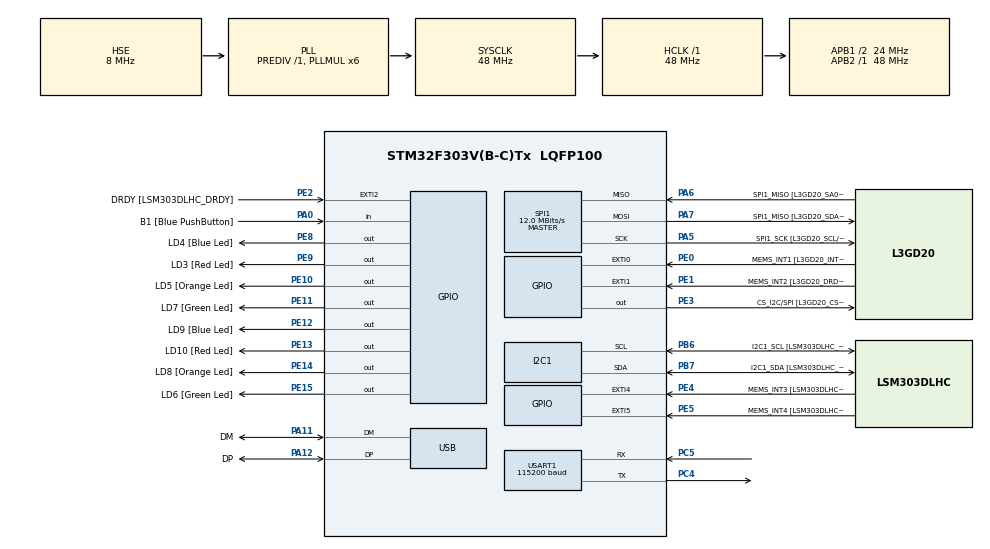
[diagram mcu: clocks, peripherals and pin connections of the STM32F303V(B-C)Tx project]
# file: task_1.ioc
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I2C1.Timing=0x00201D2B
I2C1.Timing-I2C=0x2000090E
Mcu.Family=STM32F3
Mcu.Name=STM32F303V(B-C)Tx
Mcu.Package=LQFP100
NVIC.PriorityGroup=NVIC_PRIORITYGROUP_0
PA0.GPIO_Label=B1 [Blue PushButton]
PA0.Signal=GPIO_Input
PA11.GPIO_Label=DM
PA11.Mode=Device
PA11.Signal=USB_DM
PA12.GPIO_Label=DP
PA12.Mode=Device
PA12.Signal=USB_DP
PA13.GPIO_Label=SWDIO
PA13.Mode=Serial_Wire
PA13.Signal=SYS_JTMS-SWDIO
PA14.GPIO_Label=SWCLK
PA14.Mode=Serial_Wire
PA14.Signal=SYS_JTCK-SWCLK
PA5.GPIO_Label=SPI1_SCK [L3GD20_SCL/SPC]
PA5.Mode=Full_Duplex_Master
PA5.Signal=SPI1_SCK
PA6.GPIO_Label=SPI1_MISO [L3GD20_SA0/SDO]
PA6.Mode=Full_Duplex_Master
PA6.Signal=SPI1_MISO
PA7.GPIO_Label=SPI1_MISO [L3GD20_SDA/SDI/SDO]
PA7.Mode=Full_Duplex_Master
PA7.Signal=SPI1_MOSI
PB3.GPIO_Label=SWO
PB3.Signal=SYS_JTDO-TRACESWO
PB6.GPIO_Label=I2C1_SCL [LSM303DLHC_SCL]
PB6.GPIO_Pu=GPIO_PULLUP
PB6.Mode=I2C
PB6.Signal=I2C1_SCL
PB7.GPIO_Label=I2C1_SDA [LSM303DLHC_SDA]
PB7.GPIO_Pu=GPIO_PULLUP
PB7.Mode=I2C
PB7.Signal=I2C1_SDA
PC14-OSC32_IN.GPIO_Label=OSC32_IN
PC14-OSC32_IN.Signal=RCC_OSC32_IN
PC15-OSC32_OUT.GPIO_Label=OSC32_OUT
PC15-OSC32_OUT.Signal=RCC_OSC32_OUT
PC4.Mode=Asynchronous
PC4.Signal=USART1_TX
PC5.Mode=Asynchronous
PC5.Signal=USART1_RX
PE0.GPIO_Label=MEMS_INT1 [L3GD20_INT1]
PE0.GPIO_ModeDefaultEXTI=GPIO_MODE_EVT_RISING
PE0.Signal=GPXTI0
PE1.GPIO_Label=MEMS_INT2 [L3GD20_DRDY/INT2]
PE1.GPIO_ModeDefaultEXTI=GPIO_MODE_EVT_RISING
PE1.Signal=GPXTI1
PE10.GPIO_Label=LD5 [Orange Led]
PE10.Signal=GPIO_Output
PE11.GPIO_Label=LD7 [Green Led]
PE11.Signal=GPIO_Output
PE12.GPIO_Label=LD9 [Blue Led]
PE12.Signal=GPIO_Output
PE13.GPIO_Label=LD10 [Red Led]
PE13.Signal=GPIO_Output
PE14.GPIO_Label=LD8 [Orange Led]
PE14.Signal=GPIO_Output
PE15.GPIO_Label=LD6 [Green Led]
PE15.Signal=GPIO_Output
PE2.GPIO_Label=DRDY [LSM303DLHC_DRDY]
PE2.GPIO_ModeDefaultEXTI=GPIO_MODE_EVT_RISING
PE2.Signal=GPXTI2
PE3.GPIO_Label=CS_I2C/SPI [L3GD20_CS_I2C/SPI]
PE3.Signal=GPIO_Output
PE4.GPIO_Label=MEMS_INT3 [LSM303DLHC_INT1]
PE4.GPIO_ModeDefaultEXTI=GPIO_MODE_EVT_RISING
PE4.Signal=GPXTI4
PE5.GPIO_Label=MEMS_INT4 [LSM303DLHC_INT2]
PE5.GPIO_ModeDefaultEXTI=GPIO_MODE_EVT_RISING
PE5.Signal=GPXTI5
PE8.GPIO_Label=LD4 [Blue Led]
PE8.Signal=GPIO_Output
PE9.GPIO_Label=LD3 [Red Led]
PE9.Signal=GPIO_Output
PF0-OSC_IN.GPIO_Label=OSC_IN
PF0-OSC_IN.Mode=HSE-External-Clock-Source
PF0-OSC_IN.Signal=RCC_OSC_IN
PF1-OSC_OUT.GPIO_Label=OSC_OUT
PF1-OSC_OUT.Signal=RCC_OSC_OUT
ProjectManager.HeapSize=0x200
ProjectManager.StackSize=0x800
ProjectManager.TargetToolchain=CMake
RCC.AHBFreq_Value=48000000
RCC.APB1CLKDivider=RCC_HCLK_DIV2
RCC.APB1Freq_Value=24000000
RCC.APB1TimFreq_Value=48000000
RCC.APB2Freq_Value=48000000
RCC.APB2TimFreq_Value=48000000
RCC.CortexFreq_Value=48000000
RCC.HCLKFreq_Value=48000000
RCC.HSE_VALUE=8000000
RCC.HSI_VALUE=8000000
RCC.LSE_VALUE=32768
RCC.PLLMUL=RCC_PLL_MUL6
RCC.SYSCLKFreq_VALUE=48000000
RCC.SYSCLKSourceVirtual=RCC_SYSCLKSOURCE_PLLCLK
RCC.USBFreq_Value=48000000
SPI1.BaudRatePrescaler=SPI_BAUDRATEPRESCALER_4
SPI1.BaudRatePrescaler-Full_Duplex_Master=SPI_BAUDRATEPRESCALER_2
SPI1.CalculateBaudRate=12.0 MBits/s
SPI1.CalculateBaudRate-Full_Duplex_Master=24.0 MBits/s
SPI1.Direction=SPI_DIRECTION_2LINES
SPI1.Mode=SPI_MODE_MASTER
SPI1.Mode-Full_Duplex_Master=SPI_MODE_MASTER
SPI1.VirtualType=VM_MASTER
USART1.BaudRate=115200
USART1.VirtualMode-Asynchronous=VM_ASYNC
board=STM32F3DISCOVERY

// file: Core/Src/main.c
/* USER CODE BEGIN Header */
/**
  ******************************************************************************
  * @file           : main.c
  * @brief          : Main program body
  ******************************************************************************
  * @attention
  *
  * Copyright (c) 2025 STMicroelectronics.
  * All rights reserved.
  *
  * This software is licensed under terms that can be found in the LICENSE file
  * in the root directory of this software component.
  * If no LICENSE file comes with this software, it is provided AS-IS.
  *
  ******************************************************************************
  */
/* USER CODE END Header */
#include "main.h"

/* USER CODE BEGIN Includes */
#include <stdlib.h>
#include <stdio.h>
#include <string.h>
#include <stdarg.h>
/* USER CODE END Includes */

I2C_HandleTypeDef hi2c1;

SPI_HandleTypeDef hspi1;

UART_HandleTypeDef huart1;

PCD_HandleTypeDef hpcd_USB_FS;

/* USER CODE BEGIN PV */
/* you can add persistent variables here if needed */
/* USER CODE END PV */

void SystemClock_Config(void);
static void MX_GPIO_Init(void);
static void MX_I2C1_Init(void);
static void MX_SPI1_Init(void);
static void MX_USART1_UART_Init(void);
static void MX_USB_PCD_Init(void);

/* USER CODE BEGIN 0 */

/* UART helpers using huart1 */
static void uart_print(const char *s)
{
  if (s == NULL) return;
  HAL_UART_Transmit(&huart1, (uint8_t *)s, (uint16_t)strlen(s), HAL_MAX_DELAY);
}

static void uart_printf(const char *fmt, ...)
{
  char buf[128];
  va_list args;
  va_start(args, fmt);
  vsnprintf(buf, sizeof(buf), fmt, args);
  va_end(args);
  uart_print(buf);
}

/* USER CODE END 0 */

int main(void)
{

  /* MCU Configuration--------------------------------------------------------*/

  /* Reset of all peripherals, Initializes the Flash interface and the Systick. */
  HAL_Init();

  /* Configure the system clock */
  SystemClock_Config();

  /* Initialize all configured peripherals */
  MX_GPIO_Init();
  MX_I2C1_Init();
  MX_SPI1_Init();
  MX_USART1_UART_Init();
  MX_USB_PCD_Init();
  /* USER CODE BEGIN 2 */

  const size_t n = 10; /* number of ints to allocate */

  /* malloc example */
  int *arr_malloc = (int *) malloc(n * sizeof(int));
  if (arr_malloc == NULL) {
    uart_print("malloc failed: insufficient heap or heap not configured\r\n");
  } else {
    /* initialize arr_malloc: each element = i * 2 */
    for (size_t i = 0; i < n; ++i) {
      arr_malloc[i] = (int)(i * 2);
    }

    /* print contents */
    uart_print("arr_malloc contents: ");
    for (size_t i = 0; i < n; ++i) {
      uart_printf("%d ", arr_malloc[i]);
    }
    uart_print("\r\n");
  }

  /* calloc example */
  int *arr_calloc = (int *) calloc(n, sizeof(int));
  if (arr_calloc == NULL) {
    uart_print("calloc failed: insufficient heap or heap not configured\r\n");
  } else {
    /* confirm initially zero */
    uart_print("arr_calloc initial contents (should be zeros): ");
    for (size_t i = 0; i < n; ++i) {
      uart_printf("%d ", arr_calloc[i]);
    }
    uart_print("\r\n");

    /* assign arr_calloc[i] = i + 1 */
    for (size_t i = 0; i < n; ++i) {
      arr_calloc[i] = (int)(i + 1);
    }

    /* print updated contents */
    uart_print("arr_calloc after init: ");
    for (size_t i = 0; i < n; ++i) {
      uart_printf("%d ", arr_calloc[i]);
    }
    uart_print("\r\n");
  }

  /* free and set to NULL */
  if (arr_malloc) {
    free(arr_malloc);
    arr_malloc = NULL;
    uart_print("arr_malloc freed and pointer set to NULL\r\n");
  }
  if (arr_calloc) {
    free(arr_calloc);
    arr_calloc = NULL;
    uart_print("arr_calloc freed and pointer set to NULL\r\n");
  }

  uart_print("Memory freed. Pointers cleared.\r\n");
  /* --- end Task 1 implementation --- */

  /* USER CODE END 2 */

  /* Infinite loop */
  while (1)
  {

    /* USER CODE BEGIN 3 */
    HAL_Delay(1000);
  }
  /* USER CODE END 3 */
}

void SystemClock_Config(void)
{
  RCC_OscInitTypeDef RCC_OscInitStruct = {0};
  RCC_ClkInitTypeDef RCC_ClkInitStruct = {0};
  RCC_PeriphCLKInitTypeDef PeriphClkInit = {0};

  /** Initializes the RCC Oscillators according to the specified parameters
  * in the RCC_OscInitTypeDef structure.
  */
  RCC_OscInitStruct.OscillatorType = RCC_OSCILLATORTYPE_HSI|RCC_OSCILLATORTYPE_HSE;
  RCC_OscInitStruct.HSEState = RCC_HSE_BYPASS;
  RCC_OscInitStruct.HSEPredivValue = RCC_HSE_PREDIV_DIV1;
  RCC_OscInitStruct.HSIState = RCC_HSI_ON;
  RCC_OscInitStruct.HSICalibrationValue = RCC_HSICALIBRATION_DEFAULT;
  RCC_OscInitStruct.PLL.PLLState = RCC_PLL_ON;
  RCC_OscInitStruct.PLL.PLLSource = RCC_PLLSOURCE_HSE;
  RCC_OscInitStruct.PLL.PLLMUL = RCC_PLL_MUL6;
  if (HAL_RCC_OscConfig(&RCC_OscInitStruct) != HAL_OK)
  {
    Error_Handler();
  }

  /** Initializes the CPU, AHB and APB buses clocks
  */
  RCC_ClkInitStruct.ClockType = RCC_CLOCKTYPE_HCLK|RCC_CLOCKTYPE_SYSCLK
                              |RCC_CLOCKTYPE_PCLK1|RCC_CLOCKTYPE_PCLK2;
  RCC_ClkInitStruct.SYSCLKSource = RCC_SYSCLKSOURCE_PLLCLK;
  RCC_ClkInitStruct.AHBCLKDivider = RCC_SYSCLK_DIV1;
  RCC_ClkInitStruct.APB1CLKDivider = RCC_HCLK_DIV2;
  RCC_ClkInitStruct.APB2CLKDivider = RCC_HCLK_DIV1;

  if (HAL_RCC_ClockConfig(&RCC_ClkInitStruct, FLASH_LATENCY_1) != HAL_OK)
  {
    Error_Handler();
  }
  PeriphClkInit.PeriphClockSelection = RCC_PERIPHCLK_USB|RCC_PERIPHCLK_USART1
                              |RCC_PERIPHCLK_I2C1;
  PeriphClkInit.Usart1ClockSelection = RCC_USART1CLKSOURCE_PCLK2;
  PeriphClkInit.I2c1ClockSelection = RCC_I2C1CLKSOURCE_HSI;
  PeriphClkInit.USBClockSelection = RCC_USBCLKSOURCE_PLL;
  if (HAL_RCCEx_PeriphCLKConfig(&PeriphClkInit) != HAL_OK)
  {
    Error_Handler();
  }
}

static void MX_I2C1_Init(void)
{

  hi2c1.Instance = I2C1;
  hi2c1.Init.Timing = 0x00201D2B;
  hi2c1.Init.OwnAddress1 = 0;
  hi2c1.Init.AddressingMode = I2C_ADDRESSINGMODE_7BIT;
  hi2c1.Init.DualAddressMode = I2C_DUALADDRESS_DISABLE;
  hi2c1.Init.OwnAddress2 = 0;
  hi2c1.Init.OwnAddress2Masks = I2C_OA2_NOMASK;
  hi2c1.Init.GeneralCallMode = I2C_GENERALCALL_DISABLE;
  hi2c1.Init.NoStretchMode = I2C_NOSTRETCH_DISABLE;
  if (HAL_I2C_Init(&hi2c1) != HAL_OK)
  {
    Error_Handler();
  }

  /** Configure Analogue filter
  */
  if (HAL_I2CEx_ConfigAnalogFilter(&hi2c1, I2C_ANALOGFILTER_ENABLE) != HAL_OK)
  {
    Error_Handler();
  }

  /** Configure Digital filter
  */
  if (HAL_I2CEx_ConfigDigitalFilter(&hi2c1, 0) != HAL_OK)
  {
    Error_Handler();
  }

}

static void MX_SPI1_Init(void)
{

  /* SPI1 parameter configuration*/
  hspi1.Instance = SPI1;
  hspi1.Init.Mode = SPI_MODE_MASTER;
  hspi1.Init.Direction = SPI_DIRECTION_2LINES;
  hspi1.Init.DataSize = SPI_DATASIZE_4BIT;
  hspi1.Init.CLKPolarity = SPI_POLARITY_LOW;
  hspi1.Init.CLKPhase = SPI_PHASE_1EDGE;
  hspi1.Init.NSS = SPI_NSS_SOFT;
  hspi1.Init.BaudRatePrescaler = SPI_BAUDRATEPRESCALER_4;
  hspi1.Init.FirstBit = SPI_FIRSTBIT_MSB;
  hspi1.Init.TIMode = SPI_TIMODE_DISABLE;
  hspi1.Init.CRCCalculation = SPI_CRCCALCULATION_DISABLE;
  hspi1.Init.CRCPolynomial = 7;
  hspi1.Init.CRCLength = SPI_CRC_LENGTH_DATASIZE;
  hspi1.Init.NSSPMode = SPI_NSS_PULSE_ENABLE;
  if (HAL_SPI_Init(&hspi1) != HAL_OK)
  {
    Error_Handler();
  }

}

static void MX_USART1_UART_Init(void)
{

  huart1.Instance = USART1;
  huart1.Init.BaudRate = 115200;
  huart1.Init.WordLength = UART_WORDLENGTH_8B;
  huart1.Init.StopBits = UART_STOPBITS_1;
  huart1.Init.Parity = UART_PARITY_NONE;
  huart1.Init.Mode = UART_MODE_TX_RX;
  huart1.Init.HwFlowCtl = UART_HWCONTROL_NONE;
  huart1.Init.OverSampling = UART_OVERSAMPLING_16;
  huart1.Init.OneBitSampling = UART_ONE_BIT_SAMPLE_DISABLE;
  huart1.AdvancedInit.AdvFeatureInit = UART_ADVFEATURE_NO_INIT;
  if (HAL_UART_Init(&huart1) != HAL_OK)
  {
    Error_Handler();
  }

}

static void MX_USB_PCD_Init(void)
{

  hpcd_USB_FS.Instance = USB;
  hpcd_USB_FS.Init.dev_endpoints = 8;
  hpcd_USB_FS.Init.speed = PCD_SPEED_FULL;
  hpcd_USB_FS.Init.phy_itface = PCD_PHY_EMBEDDED;
  hpcd_USB_FS.Init.low_power_enable = DISABLE;
  hpcd_USB_FS.Init.battery_charging_enable = DISABLE;
  if (HAL_PCD_Init(&hpcd_USB_FS) != HAL_OK)
  {
    Error_Handler();
  }

}

static void MX_GPIO_Init(void)
{
  GPIO_InitTypeDef GPIO_InitStruct = {0};

  /* GPIO Ports Clock Enable */
  __HAL_RCC_GPIOE_CLK_ENABLE();
  __HAL_RCC_GPIOC_CLK_ENABLE();
  __HAL_RCC_GPIOF_CLK_ENABLE();
  __HAL_RCC_GPIOA_CLK_ENABLE();
  __HAL_RCC_GPIOB_CLK_ENABLE();

  /*Configure GPIO pin Output Level */
  HAL_GPIO_WritePin(GPIOE, CS_I2C_SPI_Pin|LD4_Pin|LD3_Pin|LD5_Pin
                          |LD7_Pin|LD9_Pin|LD10_Pin|LD8_Pin
                          |LD6_Pin, GPIO_PIN_RESET);

  /*Configure GPIO pins : DRDY_Pin MEMS_INT3_Pin MEMS_INT4_Pin MEMS_INT1_Pin
                           MEMS_INT2_Pin */
  GPIO_InitStruct.Pin = DRDY_Pin|MEMS_INT3_Pin|MEMS_INT4_Pin|MEMS_INT1_Pin
                          |MEMS_INT2_Pin;
  GPIO_InitStruct.Mode = GPIO_MODE_EVT_RISING;
  GPIO_InitStruct.Pull = GPIO_NOPULL;
  HAL_GPIO_Init(GPIOE, &GPIO_InitStruct);

  /*Configure GPIO pins : CS_I2C_SPI_Pin LD4_Pin LD3_Pin LD5_Pin
                           LD7_Pin LD9_Pin LD10_Pin LD8_Pin
                           LD6_Pin */
  GPIO_InitStruct.Pin = CS_I2C_SPI_Pin|LD4_Pin|LD3_Pin|LD5_Pin
                          |LD7_Pin|LD9_Pin|LD10_Pin|LD8_Pin
                          |LD6_Pin;
  GPIO_InitStruct.Mode = GPIO_MODE_OUTPUT_PP;
  GPIO_InitStruct.Pull = GPIO_NOPULL;
  GPIO_InitStruct.Speed = GPIO_SPEED_FREQ_LOW;
  HAL_GPIO_Init(GPIOE, &GPIO_InitStruct);

  /*Configure GPIO pin : B1_Pin */
  GPIO_InitStruct.Pin = B1_Pin;
  GPIO_InitStruct.Mode = GPIO_MODE_INPUT;
  GPIO_InitStruct.Pull = GPIO_NOPULL;
  HAL_GPIO_Init(B1_GPIO_Port, &GPIO_InitStruct);

}

void Error_Handler(void)
{
  __disable_irq();
  while (1)
  {
  }
}
